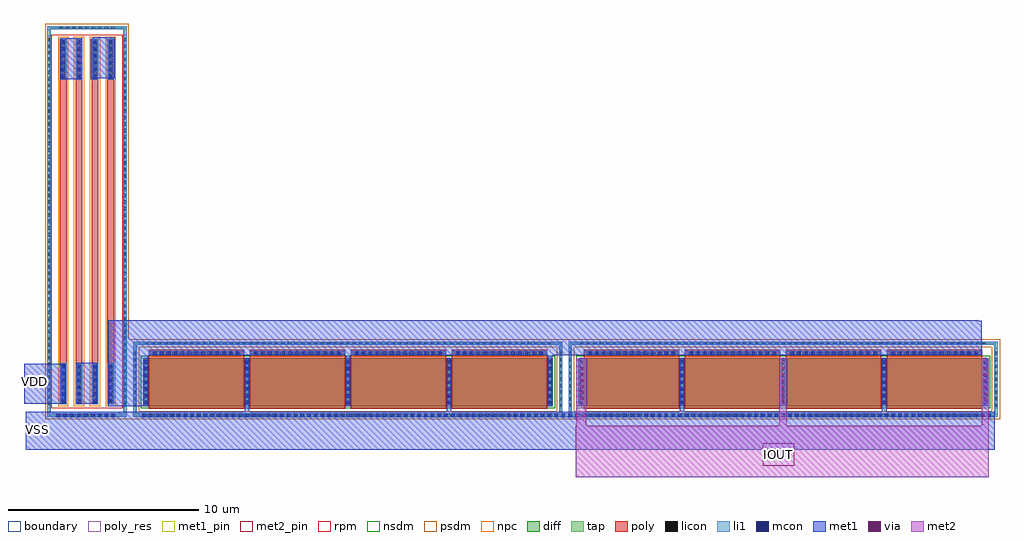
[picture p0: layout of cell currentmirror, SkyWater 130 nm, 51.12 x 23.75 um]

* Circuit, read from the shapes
.subckt currentmirror IOUT VDD VSS
XM1 VSS n1 n1 VSS sky130_fd_pr__nfet_01v8 w=2.5 l=5 m=4
XM2 VSS n1 IOUT VSS sky130_fd_pr__nfet_01v8 w=2.5 l=5 m=4
XR3 n2 VDD VSS sky130_fd_pr__res_high_po w=0.35 l=14.88
XR4 n2 n3 VSS sky130_fd_pr__res_high_po w=0.35 l=14.88
XR5 n4 n3 VSS sky130_fd_pr__res_high_po w=0.35 l=14.88
XR6 n4 n1 VSS sky130_fd_pr__res_high_po w=0.35 l=14.88
.ends

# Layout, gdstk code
from math import pi, radians
import gdstk
lib = gdstk.Library(unit=1e-6, precision=1e-09)
def R(c, l, rs):  # rectangles x0, y0, x1, y1
    for r in rs: c.add(gdstk.rectangle(r[:2], r[2:], *l))
def A(c, l, x, y, w, h, nx, ny, dx, dy):  # array of equal rectangles
    R(c, l, [(x+i*dx, y+j*dy, x+i*dx+w, y+j*dy+h) for i in range(nx) for j in range(ny)])
diff = (65, 20)
tap = (65, 44)
poly_res = (66, 13)
poly = (66, 20)
licon = (66, 44)
li1 = (67, 20)
mcon = (67, 44)
met1_pin = (68, 16)
met1 = (68, 20)
via = (68, 44)
met2_pin = (69, 16)
met2 = (69, 20)
rpm = (86, 20)
nsdm = (93, 44)
psdm = (94, 20)
npc = (95, 20)
boundary = (235, 4)

sky130_fd_pr__nfet_01v8_ = lib.new_cell('sky130_fd_pr__nfet_01v8_2HULJ6')
R(sky130_fd_pr__nfet_01v8_, diff, [(-10.725,-1.405,10.725,1.095)])
R(sky130_fd_pr__nfet_01v8_, tap, [(-11.235,-1.965,11.235,-1.795), (-11.235,-1.795,-11.065,1.795), (11.065,-1.795,11.235,1.795), (-11.235,1.795,11.235,1.965)])
A(sky130_fd_pr__nfet_01v8_, poly, -10.435, -1.535, 5, 3.07, 4, 1, 5.29, 0)
A(sky130_fd_pr__nfet_01v8_, licon, -10.625, -1.965, 0.17, 0.17, 63, 2, 0.34, 3.76)
A(sky130_fd_pr__nfet_01v8_, licon, -11.235, -1.445, 0.17, 0.17, 1, 9, 0, 0.34)
A(sky130_fd_pr__nfet_01v8_, licon, 11.065, -1.445, 0.17, 0.17, 1, 9, 0, 0.34)
A(sky130_fd_pr__nfet_01v8_, licon, -10.665, -1.26, 0.17, 0.17, 5, 7, 5.29, 0.34)
A(sky130_fd_pr__nfet_01v8_, licon, -10.23, 1.285, 0.17, 0.17, 14, 1, 0.34, 0)
A(sky130_fd_pr__nfet_01v8_, licon, -4.94, 1.285, 0.17, 0.17, 14, 1, 0.34, 0)
A(sky130_fd_pr__nfet_01v8_, licon, 0.35, 1.285, 0.17, 0.17, 14, 1, 0.34, 0)
A(sky130_fd_pr__nfet_01v8_, licon, 5.64, 1.285, 0.17, 0.17, 14, 1, 0.34, 0)
A(sky130_fd_pr__nfet_01v8_, li1, -10.665, -1.425, 0.17, 2.54, 5, 1, 5.29, 0)
A(sky130_fd_pr__nfet_01v8_, li1, -10.435, 1.285, 5, 0.17, 4, 1, 5.29, 0)
R(sky130_fd_pr__nfet_01v8_, li1, [(-11.235,-1.965,11.235,-1.795), (-11.235,-1.795,-11.065,1.795), (11.065,-1.795,11.235,1.795), (-11.235,1.795,11.235,1.965)])
A(sky130_fd_pr__nfet_01v8_, mcon, -10.665, -1.32, 0.17, 0.17, 5, 7, 5.29, 0.36)
A(sky130_fd_pr__nfet_01v8_, mcon, -10.18, 1.285, 0.17, 0.17, 13, 1, 0.36, 0)
A(sky130_fd_pr__nfet_01v8_, mcon, -4.89, 1.285, 0.17, 0.17, 13, 1, 0.36, 0)
A(sky130_fd_pr__nfet_01v8_, mcon, 0.4, 1.285, 0.17, 0.17, 13, 1, 0.36, 0)
A(sky130_fd_pr__nfet_01v8_, mcon, 5.69, 1.285, 0.17, 0.17, 13, 1, 0.36, 0)
A(sky130_fd_pr__nfet_01v8_, met1, -10.695, -1.405, 0.23, 2.5, 5, 1, 5.29, 0)
A(sky130_fd_pr__nfet_01v8_, met1, -10.415, 1.255, 4.96, 0.23, 4, 1, 5.29, 0)
R(sky130_fd_pr__nfet_01v8_, nsdm, [(-10.85,-1.53,10.85,1.22)])
R(sky130_fd_pr__nfet_01v8_, psdm, [(-11.36,-2.09,11.36,-1.67), (-11.36,-1.67,-10.94,1.67), (10.94,-1.67,11.36,1.67), (-11.36,1.67,11.36,2.09)])
A(sky130_fd_pr__nfet_01v8_, npc, -10.33, 1.185, 4.79, 0.37, 4, 1, 5.29, 0)
R(sky130_fd_pr__nfet_01v8_, boundary, [(-11.15,-1.88,11.15,1.88)])

sky130_fd_pr__res_high_p = lib.new_cell('sky130_fd_pr__res_high_po_0p35_RCHFKS')
R(sky130_fd_pr__res_high_p, tap, [(-2.07,-10.23,2.07,-10.06), (-2.07,-10.06,-1.9,10.06), (1.9,-10.06,2.07,10.06), (-2.07,10.06,2.07,10.23)])
A(sky130_fd_pr__res_high_p, poly_res, -1.42, -7.5, 0.35, 15, 4, 1, 0.83, 0)
A(sky130_fd_pr__res_high_p, poly, -1.42, -9.58, 0.35, 19.16, 4, 1, 0.83, 0)
A(sky130_fd_pr__res_high_p, licon, -1.445, -10.23, 0.17, 0.17, 9, 2, 0.34, 20.29)
A(sky130_fd_pr__res_high_p, licon, -2.07, -9.605, 0.17, 0.17, 1, 57, 0, 0.34)
A(sky130_fd_pr__res_high_p, licon, 1.9, -9.605, 0.17, 0.17, 1, 57, 0, 0.34)
A(sky130_fd_pr__res_high_p, licon, -1.34, -9.5, 0.19, 2, 4, 2, 0.83, 17)
A(sky130_fd_pr__res_high_p, li1, -1.42, -9.58, 0.35, 2.16, 4, 2, 0.83, 17)
R(sky130_fd_pr__res_high_p, li1, [(-2.07,-10.23,2.07,-10.06), (-2.07,-10.06,-1.9,10.06), (1.9,-10.06,2.07,10.06), (-2.07,10.06,2.07,10.23)])
A(sky130_fd_pr__res_high_p, mcon, -1.33, -9.485, 0.17, 0.17, 4, 6, 0.83, 0.36)
A(sky130_fd_pr__res_high_p, mcon, -1.33, 7.51, 0.17, 0.17, 4, 6, 0.83, 0.36)
A(sky130_fd_pr__res_high_p, met1, -1.37, -9.55, 0.25, 2.105, 4, 2, 0.83, 16.995)
R(sky130_fd_pr__res_high_p, rpm, [(-1.88,-9.78,1.88,9.78)])
R(sky130_fd_pr__res_high_p, psdm, [(-2.195,-10.355,2.195,10.355)])
A(sky130_fd_pr__res_high_p, npc, -1.515, -9.675, 0.54, 19.35, 4, 1, 0.83, 0)
R(sky130_fd_pr__res_high_p, boundary, [(-1.985,-10.145,1.985,10.145)])

currentmirror = lib.new_cell('currentmirror')
R(currentmirror, li1, [(-2.65,-1.55,0.7,-1.35), (1.85,-1.55,46.6,-1.35)])
A(currentmirror, mcon, -2.5, -1.535, 0.17, 0.17, 9, 1, 0.36, 0)
A(currentmirror, mcon, 2, -1.535, 0.17, 0.17, 124, 1, 0.36, 0)
R(currentmirror, met1_pin, [(-3.84,-2.42,-3.19,-1.92), (-3.83,0.13,-3.47,0.49)])
R(currentmirror, met1, [(-4.1,-3.25,46.65,-1.25), (7.36,-1.25,7.59,-0.96), (17.94,-1.25,18.17,-0.96), (30.16,-1.25,30.39,-0.96), (40.74,-1.25,40.98,-0.95), (0.22,-0.96,2.29,-0.84), (24.73,-0.96,25.27,1.54), (35.35,-0.96,35.77,1.55), (45.97,-0.95,46.33,1.53), (-4.2,-0.85,-2,1.25), (-1.5,-0.85,-0.35,1.3), (0.225,-0.84,2.29,-0.82), (0.225,-0.82,2.07,1.265), (0.22,1.265,2.07,1.54), (12.65,1.505,12.88,1.7), (0.22,1.54,2.3,1.7), (23.23,1.54,23.46,1.7), (0.22,1.7,45.98,2.685), (0.22,2.685,45.96,3.52), (0.22,3.52,45.78,3.525), (-2.3,16.15,-1.15,18.3), (-0.7,16.15,-0.35,16.2), (-0.7,16.2,0.55,18.25), (-0.6,18.25,0.55,18.35)])
A(currentmirror, via, 46.065, -0.67, 0.15, 0.15, 1, 6, 0, 0.32)
A(currentmirror, via, 35.485, -0.66, 0.15, 0.15, 1, 6, 0, 0.32)
A(currentmirror, via, 24.935, -0.64, 0.15, 0.15, 1, 6, 0, 0.32)
R(currentmirror, met2_pin, [(34.49,-4.09,36.15,-2.92)])
R(currentmirror, met2, [(24.7,-4.69,35.34,-4.68), (35.75,-4.69,46.33,-4.68), (24.7,-4.68,46.33,-2), (24.73,-2,25.25,1.54), (35.35,-2,35.75,1.55), (45.97,-2,46.33,1.54)])
R(currentmirror, psdm, [(1.295,-1.645,1.405,2.535), (24.125,-1.645,24.205,2.535)])
currentmirror.add(gdstk.Reference(sky130_fd_pr__nfet_01v8_, (35.565,0.445)))
currentmirror.add(gdstk.Reference(sky130_fd_pr__nfet_01v8_, (12.765,0.445)))
currentmirror.add(gdstk.Reference(sky130_fd_pr__res_high_p, (-0.9,8.71), rotation=pi, x_reflection=True))
currentmirror.add(gdstk.Label('VDD', (-3.65,0.31), layer=68, texttype=5))
currentmirror.add(gdstk.Label('VSS', (-3.515,-2.17), layer=68, texttype=5))
currentmirror.add(gdstk.Label('IOUT', (35.32,-3.505), layer=69, texttype=5))

lib.write_gds('currentmirror.gds')
